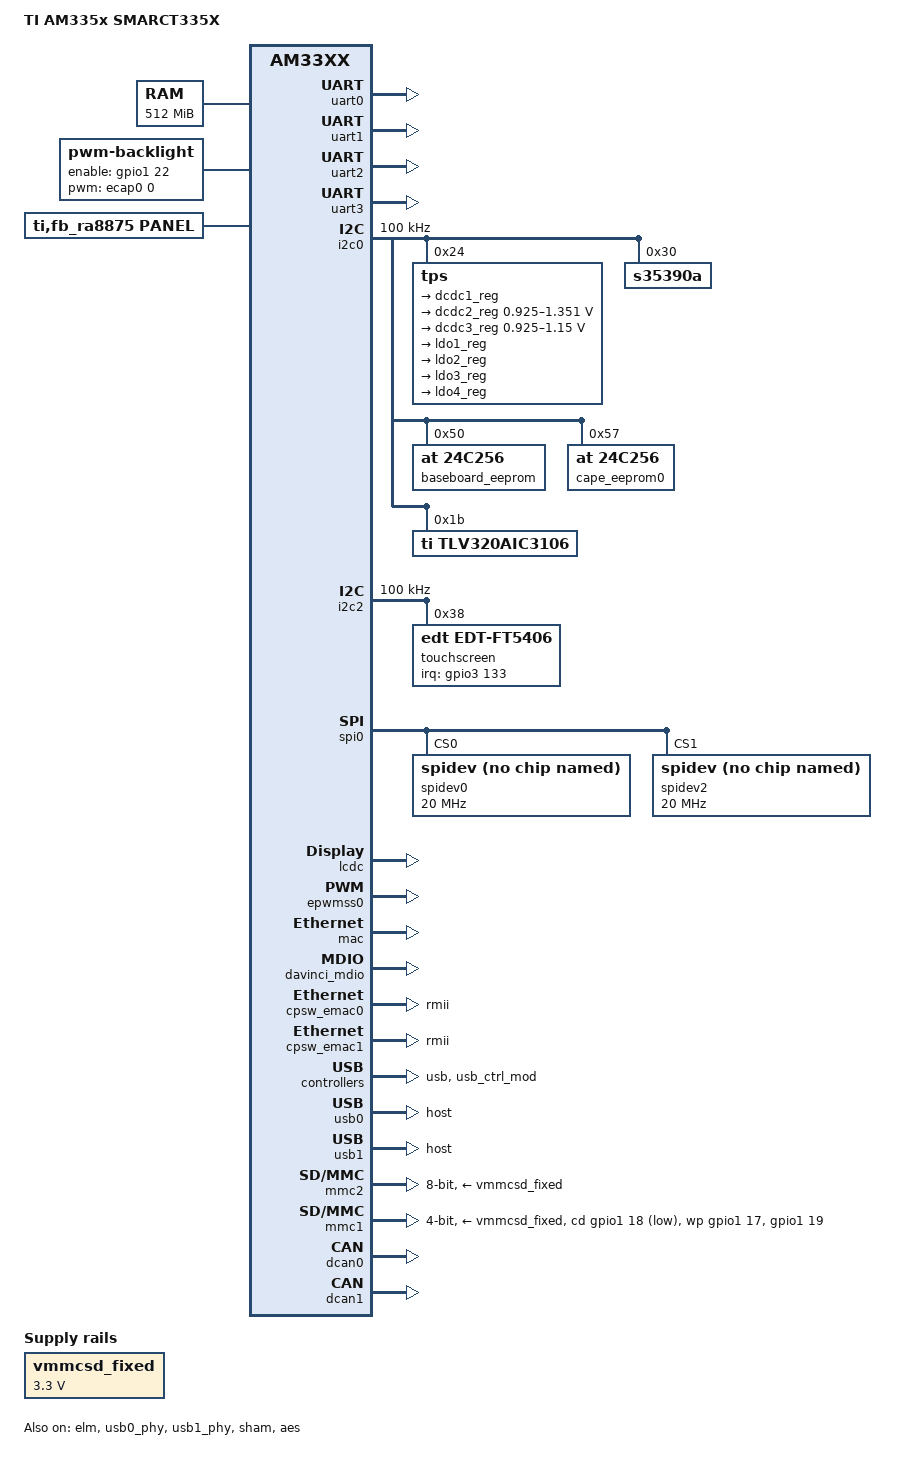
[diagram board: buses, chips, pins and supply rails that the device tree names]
/*
 * Copyright (C) 2012 Texas Instruments Incorporated - http://www.ti.com/
 *
 * This program is free software; you can redistribute it and/or modify
 * it under the terms of the GNU General Public License version 2 as
 * published by the Free Software Foundation.
 */

        /* state the resources this carrier uses for audio function*/
                /* the pin header uses for Audio*/
                /*
                "S.39",         mcasp1: mcasp0_fsr.mcasp1_fsx           mode3
                "S.40",         mcasp1: mcasp0_axr1.mcasp1_axr0         mode3
                "S.41",         mcasp1: mcasp0_ahclkx.mcasp1_axr1       mode3
                "S.42",         mcasp1: mcasp0_aclkr.mcasp1_aclkx       mode3
                */
                /* the pin header uses for SPI1*/
                /*
                "P.54",         spi1: mcasp0_ahclkr.spi1_cs0n           mode3
                "P.55",         spi1: xdma_event_intro0.spi1_cs1n       mode4
                "P.56",         spi1: mcasp0_aclkx.spi1_sclk            mode3
                "P.57",         spi1: mcasp0_fsx.spi1_d0                mode3
                "P.58",         spi1: mcasp0_axr0.spi1_d1               mode3
                */
                /* the pin header uses for LCD*/
                /*
                "S.114",        lcd: lcd_data0.lcd_data0                mode0
                "S.115",        lcd: lcd_data1.lcd_data1                mode0
                "S.116",        lcd: lcd_data2.lcd_data2                mode0
                "S.117",        lcd: lcd_data3.lcd_data3                mode0
                "S.118",        lcd: lcd_data4.lcd_data4                mode0
                "S.104",        lcd: lcd_data5.lcd_data5                mode0
                "S.105",        lcd: lcd_data6.lcd_data6                mode0
                "S.106",        lcd: lcd_data7.lcd_data7                mode0
                "S.107",        lcd: lcd_data8.lcd_data8                mode0
                "S.108",        lcd: lcd_data9.lcd_data9                mode0
                "S.109",        lcd: lcd_data10.lcd_data10              mode0
                "S.96",         lcd: lcd_data11.lcd_data11              mode0
                "S.97",         lcd: lcd_data12.lcd_data12              mode0
                "S.98",         lcd: lcd_data13.lcd_data13              mode0
                "S.99",         lcd: lcd_data14.lcd_data14              mode0
                "S.100",        lcd: lcd_data15.lcd_data15              mode0
                "S.113",        lcd: lcd_data16.gpmc_ad15               mode0
                "S.95",         lcd: lcd_data17.gpmc_ad14               mode0
                "S.112",        lcd: lcd_data18.gpmc_ad13               mode0
                "S.103",        lcd: lcd_data19.gpmc_ad12               mode0
                "S.94",         lcd: lcd_data20.gpmc_ad11               mode0
                "S.111",        lcd: lcd_data21.gpmc_ad10               mode0
                "S.102",        lcd: lcd_data22.gpmc_ad9                mode0
                "S.93",         lcd: lcd_data23.gpmc_ad8                mode0
                "S.121",        lcd: lcd_vsync.lcd_vsync                mode0
                "S.122",        lcd: lcd_hsync.lcd_hsync                mode0
                "S.123",        lcd: lcd_pclk.lcd_pclk                  mode0
                "S.120",        lcd_de: lcd_ac_bias_en.lcd_ac_bias_en   mode0
                "S.133",        lcd_vdd_en: gpmc_a7.gpio1_23            mode7
                "S.127",        lcd_bklt_en: gpmc_a6.gpio1_22           mode7
        `       */
                /* the pin header uses for DCAN0*/
                /*
                "P.143",        dcan0_tx: gmii1_txd3.dcan0_tx           mode1
                "P.144",        dcan0_rx: gmii1_txd2.dcan0_rx   mode1
                */
                /* the hardware ip uses */
                /*
                "mcasp1",
                "i2c0",
                "i2c1",
                "i2c2",
                "uart0",
                "uart2",
                "uart3",
                "touch",
                "mmc0/SD",
                "emmc",
                "ecap0/backlight",
                "emac0",
                "emac1",
                "gpio1_22",
                "gpio1_23",
                "gpio1_19",
                "lcd",
                "dcan0",
                "spi0",
                "spi1";
                */


/ {
	model = "TI AM335x SMARCT335X";
	compatible = "ti,am335x-smarct335x", "ti,am33xx";

        aliases {
                rtc0 = &s35390a;
                rtc1 = &rtc;
               	mmc0 = &mmc2;   /* Fixed to mmcblk0 for &mmc2 */
               	mmc1 = &mmc1;   /* Fixed to mmcblk1 for &mmc1 */
        };

	cpus {
		cpu@0 {
			cpu0-supply = <&dcdc2_reg>;
		};
	};

	memory@80000000 {
		device_type = "memory";
		reg = <0x80000000 0x20000000>; /* 512 MB */
	};

        vmmcsd_fixed: fixedregulator@0 {
                compatible = "regulator-fixed";
                regulator-name = "vmmcsd_fixed";
                regulator-min-microvolt = <3300000>;
                regulator-max-microvolt = <3300000>;
        };

        backlight {
                compatible = "pwm-backlight";
                enable-gpios = <&gpio1 22 0>; /* Backlight Enable Pin*/
                pwms = <&ecap0 0 50000 0>;
                brightness-levels = <0 51 53 56 62 75 101 152 255>;
                default-brightness-level = <8>;
        };

//	lcdc: lcdc@4830e000 {
//		compatible = "ti,am33xx-tilcdc";
//		reg = <0x4830e000 0x1000>;
//		interrupt-parent = <&intc>;
//		interrupts = <36>;
//		ti,hwmods = "lcdc";
//		status = "enabled";
//	};

        panel {
                compatible = "ti,fb_ra8875,panel";
                status = "okay";
        	pinctrl-names = "default";
        	pinctrl-0 = <&lcd_pins_default>;
//		enable-gpios = <&gpio1 23 0>; /* Enable LCD_VDD_EN pin */
                panel-info {
                        bpp               = <16>;
                };

                display-timings {
                       	800x480p60 {
                                hactive = <800>;
                                vactive = <480>;
                               hsync-active = <0>;
                                vsync-active = <0>;
                        };
                };
        };
};


&am33xx_pinmux {
	pinctrl-names = "default";
//	pinctrl-0 = <&clkout2_pin &gpio_pins_default>;
	pinctrl-0 = <&gpio_pins_default>;
  
  i2c0_pins: pinmux_i2c0_pins {    //to ??
    pinctrl-single,pins = <
      AM33XX_IOPAD(0x988, PIN_INPUT_PULLUP | MUX_MODE0) /* (C17) I2C0_SDA.I2C0_SDA */
      AM33XX_IOPAD(0x98c, PIN_INPUT_PULLUP | MUX_MODE0) /* (C16) I2C0_SCL.I2C0_SCL */
    >;
  };
  /* Optional sleep pin settings. Must manually enter values in the below skeleton. */
  i2c0_pins_sleep: i2c0_pins_sleep {
    pinctrl-single,pins = <
      AM33XX_IOPAD(0x988, PIN_INPUT_PULLDOWN | MUX_MODE7) /* (C17) I2C0_SDA.I2C0_SDA */
      AM33XX_IOPAD(0x98c, PIN_INPUT_PULLDOWN | MUX_MODE7) /* (C16) I2C0_SCL.I2C0_SCL */
    >;
  };

  i2c2_pins: pinmux_i2c2_pins {   //to touch
    pinctrl-single,pins = <
      AM33XX_IOPAD(0x978, PIN_INPUT_PULLUP | MUX_MODE3) /* (D18) uart1_ctsn.I2C2_SDA */
      AM33XX_IOPAD(0x97c, PIN_INPUT_PULLUP | MUX_MODE3) /* (D17) uart1_rtsn.I2C2_SCL */
      AM33XX_IOPAD(0x9a0, PIN_INPUT_PULLUP | MUX_MODE7) /* (B12) mcasp0_aclkr.gpio3[18] nINT_CTP*/
    >;
  };
  /* Optional sleep pin settings. Must manually enter values in the below skeleton. */
  i2c2_pins_sleep: i2c2_pins_sleep {
    pinctrl-single,pins = <
      AM33XX_IOPAD(0x978, PIN_INPUT_PULLDOWN | MUX_MODE7) /* (D18) uart1_ctsn.I2C2_SDA */
      AM33XX_IOPAD(0x97c, PIN_INPUT_PULLDOWN | MUX_MODE7) /* (D17) uart1_rtsn.I2C2_SCL */
      AM33XX_IOPAD(0x9a0, PIN_INPUT_PULLDOWN | MUX_MODE7) /* (B12) mcasp0_aclkr.gpio3[18] nINT_CTP*/
    >;
  };

  uart0_pins: pinmux_uart0_pins {    //to PC
    pinctrl-single,pins = <
      AM33XX_IOPAD(0x970, PIN_INPUT_PULLUP | MUX_MODE0)	/* (E15) uart0_rxd.uart0_rxd */
      AM33XX_IOPAD(0x974, PIN_OUTPUT_PULLDOWN | MUX_MODE0)	/* (E16) uart0_txd.uart0_txd */
    >;
  };
  uart0_pins_sleep: pinmux_uart0_pins_sleep {
    pinctrl-single,pins = <
      AM33XX_IOPAD(0x970, PIN_INPUT_PULLDOWN | MUX_MODE7)	/* (E15) uart0_rxd.uart0_rxd */
      AM33XX_IOPAD(0x974, PIN_INPUT_PULLDOWN | MUX_MODE7)	/* (E16) uart0_txd.uart0_txd */
    >;
  };

  uart1_pins: pinmux_uart1_pins {    //to FPGA
    pinctrl-single,pins = <
      AM33XX_IOPAD(0x980, PIN_INPUT_PULLUP | MUX_MODE0) /* (D16) uart1_rxd.uart1_rxd */ 
      AM33XX_IOPAD(0x984, PIN_OUTPUT_PULLDOWN | MUX_MODE0)	/* (D15) uart1_txd.uart1_txd */
    >;
  };
  uart1_pins_sleep: pinmux_uart1_pins_sleep {
    pinctrl-single,pins = <
      AM33XX_IOPAD(0x980, PIN_INPUT_PULLDOWN | MUX_MODE7) /* (D16) uart1_rxd.uart1_rxd */
      AM33XX_IOPAD(0x984, PIN_INPUT_PULLDOWN | MUX_MODE7) /* (D15) uart1_txd.uart1_txd */
    >;
  };

  uart2_pins: pinmux_uart2_pins {   //to module
    pinctrl-single,pins = <
      AM33XX_IOPAD(0x92c, PIN_INPUT_PULLUP | MUX_MODE1) /* (K18) gmii1_txclk.uart2_rxd */
      AM33XX_IOPAD(0x930, PIN_OUTPUT_PULLDOWN | MUX_MODE1) /* (L18) gmii1_rxclk.uart2_txd */
    >;
  };
  uart2_pins_sleep: pinmux_uart2_pins_sleep {
    pinctrl-single,pins = <
      AM33XX_IOPAD(0x92c, PIN_INPUT_PULLDOWN | MUX_MODE7) /* (K18) gmii1_txclk.uart2_rxd */
      AM33XX_IOPAD(0x930, PIN_INPUT_PULLDOWN | MUX_MODE7) /* (L18) gmii1_rxclk.uart2_txd */
    >;
  };
 
  uart3_pins: pinmux_uart3_pins {   //debug
    pinctrl-single,pins = <
      AM33XX_IOPAD(0x934, PIN_INPUT_PULLUP | MUX_MODE1) /* (L17) gmii1_rxd3.uart3_rxd */
      AM33XX_IOPAD(0x938, PIN_OUTPUT_PULLDOWN | MUX_MODE1) /* (L16) gmii1_rxd2.uart3_txd */
    >;
  };
  uart3_pins_sleep: pinmux_uart3_pins_sleep {
    pinctrl-single,pins = <
      AM33XX_IOPAD(0x934, PIN_INPUT_PULLDOWN | MUX_MODE7) /* (L17) gmii1_rxd3.uart3_rxd */
      AM33XX_IOPAD(0x938, PIN_INPUT_PULLDOWN | MUX_MODE7) /* (L16) gmii1_rxd2.uart3_txd */
    >;
  };

//	clkout2_pin: pinmux_clkout2_pin {
//		pinctrl-single,pins = <
//			AM33XX_IOPAD(0x9b4, PIN_OUTPUT_PULLDOWN | MUX_MODE3)	/* xdma_event_intr1.clkout2 */
//		>;
//	};

  gpio_pins_default: pinmux_gpio_pin {
    pinctrl-single,pins = <
      AM33XX_IOPAD(0x918, PIN_INPUT_PULLUP | MUX_MODE7) /* (J17) gmii1_rxdv.gpio3[4] FPGA_Interrupt_1_n*/
      AM33XX_IOPAD(0x9e4, PIN_OUTPUT_PULLDOWN | MUX_MODE7) /* (C14) EMU0.gpio3[7] MCU_LED_G */
      AM33XX_IOPAD(0x9e8, PIN_OUTPUT_PULLDOWN | MUX_MODE7) /* (B14) EMU1.gpio3[8] MCU_LED_R */
      AM33XX_IOPAD(0x990, PIN_INPUT | MUX_MODE7) /* (A13) mcasp0_aclkx.gpio3[14] GPIO_JTAG_TCK */
      AM33XX_IOPAD(0x994, PIN_INPUT | MUX_MODE7) /* (B13) mcasp0_fsx.gpio3[15] GPIO_JTAG_TDO */
      AM33XX_IOPAD(0x998, PIN_INPUT | MUX_MODE7) /* (D12) mcasp0_axr0.gpio3[16] GPIO_JTAG_TDI */
      AM33XX_IOPAD(0x99c, PIN_INPUT | MUX_MODE7) /* (C12) mcasp0_ahclkr.gpio3[17] GPIO_JTAG_TMS */
      AM33XX_IOPAD(0x9a4, PIN_INPUT | MUX_MODE7) /* (C13) mcasp0_fsr.gpio3[19] External_Key_2 */
      AM33XX_IOPAD(0x9a8, PIN_OUTPUT_PULLUP | MUX_MODE7) /* (D13) mcasp0_axr1.gpio3[20] Enable_Lamp_1 */
      AM33XX_IOPAD(0x9ac, PIN_OUTPUT_PULLUP | MUX_MODE7) /* (A14) mcasp0_ahclkx.gpio3[21] Enable_Lamp_2 */
      AM33XX_IOPAD(0x89c, PIN_INPUT_PULLUP | MUX_MODE7) /* (T6) gpmc_be0n_cle.gpio2[5] FPGA_Interrupt_2_n */
      AM33XX_IOPAD(0x9b0, PIN_INPUT | MUX_MODE7) /* (A15) xdma_event_intr0.gpio0[19] GPIO_EXT_JTAG_ENn */
      AM33XX_IOPAD(0x9b4, PIN_INPUT_PULLUP | MUX_MODE7) /* (D14) xdma_event_intr1.gpio0[20] External_Key_1 */
    >;
  };
  /* Optional sleep pin settings. Must manually enter values in the below skeleton. */
  gpio_pins_sleep: gpio_pins_sleep {
    pinctrl-single,pins = <
      AM33XX_IOPAD(0x918, PIN_OUTPUT_PULLDOWN | MUX_MODE7) /* (J17) gmii1_rxdv.gpio3[4] */
      AM33XX_IOPAD(0x9e4, PIN_OUTPUT_PULLDOWN | MUX_MODE7) /* (C14) EMU0.gpio3[7] */
      AM33XX_IOPAD(0x9e8, PIN_OUTPUT_PULLDOWN | MUX_MODE7) /* (B14) EMU1.gpio3[8] */
      AM33XX_IOPAD(0x990, PIN_OUTPUT_PULLDOWN | MUX_MODE7) /* (A13) mcasp0_aclkx.gpio3[14] */
      AM33XX_IOPAD(0x994, PIN_OUTPUT_PULLDOWN | MUX_MODE7) /* (B13) mcasp0_fsx.gpio3[15] */
      AM33XX_IOPAD(0x998, PIN_OUTPUT_PULLDOWN | MUX_MODE7) /* (D12) mcasp0_axr0.gpio3[16] */
      AM33XX_IOPAD(0x99c, PIN_OUTPUT_PULLDOWN | MUX_MODE7) /* (C12) mcasp0_ahclkr.gpio3[17] */
      AM33XX_IOPAD(0x9a4, PIN_OUTPUT_PULLDOWN | MUX_MODE7 ) /* (C13) mcasp0_fsr.gpio3[19] */
      AM33XX_IOPAD(0x9a8, PIN_OUTPUT_PULLDOWN | MUX_MODE7) /* (D13) mcasp0_axr1.gpio3[20] */
      AM33XX_IOPAD(0x9ac, PIN_OUTPUT_PULLDOWN | MUX_MODE7) /* (A14) mcasp0_ahclkx.gpio3[21] */
      AM33XX_IOPAD(0x89c, PIN_OUTPUT_PULLDOWN | MUX_MODE7) /* (T6) gpmc_be0n_cle.gpio2[5] */
      AM33XX_IOPAD(0x9b0, PIN_OUTPUT_PULLDOWN | MUX_MODE7) /* (A15) xdma_event_intr0.gpio0[19] */
      AM33XX_IOPAD(0x9b4, PIN_OUTPUT_PULLDOWN | MUX_MODE7) /* (D14) xdma_event_intr1.gpio0[20] */
    >;
  };

  ecap0_pins: backlight_pins {    // PWM to BL
    pinctrl-single,pins = <
      AM33XX_IOPAD(0x964, MUX_MODE0)  /* (C18) eCAP0_in_PWM0_out.eCAP0_in_PWM0_out */
    >;
  };
  /* Optional sleep pin settings. Must manually enter values in the below skeleton. */
  ecap0_pins_sleep:  ecap0_pins_sleep {
    pinctrl-single,pins = <
      AM33XX_IOPAD(0x964, PIN_OUTPUT_PULLDOWN | MUX_MODE7) /* (C18) eCAP0_in_PWM0_out.eCAP0_in_PWM0_out */
    >;
  };

  gpmc_to_fpga_pins_default: gpmc_to_fpga_pins_default {
    pinctrl-single,pins = <
      AM33XX_IOPAD(0x844, PIN_OUTPUT | MUX_MODE0) /* (V14) gpmc_a1.gpmc_a1 */
      AM33XX_IOPAD(0x848, PIN_OUTPUT | MUX_MODE0) /* (U14) gpmc_a2.gpmc_a2 */
      AM33XX_IOPAD(0x84c, PIN_OUTPUT | MUX_MODE0) /* (T14) gpmc_a3.gpmc_a3 */
      AM33XX_IOPAD(0x858, PIN_OUTPUT | MUX_MODE0) /* (U15) gpmc_a6.gpmc_a6 */
      AM33XX_IOPAD(0x85c, PIN_OUTPUT | MUX_MODE0) /* (T15) gpmc_a7.gpmc_a7 */
      AM33XX_IOPAD(0x860, PIN_OUTPUT | MUX_MODE0) /* (V16) gpmc_a8.gpmc_a8 */
      AM33XX_IOPAD(0x864, PIN_OUTPUT | MUX_MODE0) /* (U16) gpmc_a9.gpmc_a9 */
      AM33XX_IOPAD(0x83c, PIN_INPUT | MUX_MODE0) /* (U13) gpmc_ad15.gpmc_ad15 */
      AM33XX_IOPAD(0x838, PIN_INPUT | MUX_MODE0) /* (V13) gpmc_ad14.gpmc_ad14 */
      AM33XX_IOPAD(0x834, PIN_INPUT | MUX_MODE0) /* (R12) gpmc_ad13.gpmc_ad13 */
      AM33XX_IOPAD(0x830, PIN_INPUT | MUX_MODE0) /* (T12) gpmc_ad12.gpmc_ad12 */
      AM33XX_IOPAD(0x82c, PIN_INPUT | MUX_MODE0) /* (U12) gpmc_ad11.gpmc_ad11 */
      AM33XX_IOPAD(0x828, PIN_INPUT | MUX_MODE0) /* (T11) gpmc_ad10.gpmc_ad10 */
      AM33XX_IOPAD(0x824, PIN_INPUT | MUX_MODE0) /* (T10) gpmc_ad9.gpmc_ad9 */
      AM33XX_IOPAD(0x820, PIN_INPUT | MUX_MODE0) /* (U10) gpmc_ad8.gpmc_ad8 */
      AM33XX_IOPAD(0x890, PIN_OUTPUT | MUX_MODE0) /* (R7) gpmc_advn_ale.gpmc_advn_ale */
      AM33XX_IOPAD(0x894, PIN_OUTPUT | MUX_MODE0) /* (T7) gpmc_oen_ren.gpmc_oen_ren */
      AM33XX_IOPAD(0x898, PIN_OUTPUT | MUX_MODE0) /* (U6) gpmc_wen.gpmc_wen */
      AM33XX_IOPAD(0x87c, PIN_OUTPUT | MUX_MODE0) /* (V6) gpmc_csn0.gpmc_csn0 */
      AM33XX_IOPAD(0x888, PIN_OUTPUT | MUX_MODE0) /* (T13) gpmc_csn3.gpmc_csn3 */
      AM33XX_IOPAD(0x878, PIN_OUTPUT | MUX_MODE2) /* (U18) gpmc_be1n.gpmc_csn6 */
    >;
  };
  /* Optional sleep pin settings. Must manually enter values in the below skeleton. */
  gpmc_to_fpga_pins_sleep: gpmc_to_fpga_pins_sleep {
    pinctrl-single,pins = <
      AM33XX_IOPAD(0x844, PIN_OUTPUT_PULLDOWN | MUX_MODE7) /* (V14) gpmc_a1.gpmc_a1 */
      AM33XX_IOPAD(0x848, PIN_INPUT_PULLDOWN | MUX_MODE7) /* (U14) gpmc_a2.gpmc_a2 */
      AM33XX_IOPAD(0x84c, PIN_INPUT_PULLDOWN | MUX_MODE7) /* (T14) gpmc_a3.gpmc_a3 */
      AM33XX_IOPAD(0x858, PIN_INPUT_PULLDOWN | MUX_MODE7) /* (U15) gpmc_a6.gpmc_a6 */
      AM33XX_IOPAD(0x85c, PIN_INPUT_PULLDOWN | MUX_MODE7) /* (T15) gpmc_a7.gpmc_a7 */
      AM33XX_IOPAD(0x860, PIN_INPUT_PULLDOWN | MUX_MODE7) /* (V16) gpmc_a8.gpmc_a8 */
      AM33XX_IOPAD(0x864, PIN_INPUT_PULLDOWN | MUX_MODE7) /* (U16) gpmc_a9.gpmc_a9 */
      AM33XX_IOPAD(0x83c, PIN_INPUT_PULLDOWN | MUX_MODE7) /* (U13) gpmc_ad15.gpmc_ad15 */
      AM33XX_IOPAD(0x838, PIN_INPUT_PULLDOWN | MUX_MODE7) /* (V13) gpmc_ad14.gpmc_ad14 */
      AM33XX_IOPAD(0x834, PIN_INPUT_PULLDOWN | MUX_MODE7) /* (R12) gpmc_ad13.gpmc_ad13 */
      AM33XX_IOPAD(0x830, PIN_INPUT_PULLDOWN | MUX_MODE7) /* (T12) gpmc_ad12.gpmc_ad12 */
      AM33XX_IOPAD(0x82c, PIN_INPUT_PULLDOWN | MUX_MODE7) /* (U12) gpmc_ad11.gpmc_ad11 */
      AM33XX_IOPAD(0x828, PIN_INPUT_PULLDOWN | MUX_MODE7) /* (T11) gpmc_ad10.gpmc_ad10 */
      AM33XX_IOPAD(0x824, PIN_INPUT_PULLDOWN | MUX_MODE7) /* (T10) gpmc_ad9.gpmc_ad9 */
      AM33XX_IOPAD(0x820, PIN_INPUT_PULLDOWN | MUX_MODE7) /* (U10) gpmc_ad8.gpmc_ad8 */
      AM33XX_IOPAD(0x890, PIN_INPUT_PULLDOWN | MUX_MODE7) /* (R7) gpmc_advn_ale.gpmc_advn_ale */
      AM33XX_IOPAD(0x894, PIN_INPUT_PULLDOWN | MUX_MODE7) /* (T7) gpmc_oen_ren.gpmc_oen_ren */
      AM33XX_IOPAD(0x898, PIN_INPUT_PULLDOWN | MUX_MODE7) /* (U6) gpmc_wen.gpmc_wen */
      AM33XX_IOPAD(0x87c, PIN_INPUT_PULLDOWN | MUX_MODE7) /* (V6) gpmc_csn0.gpmc_csn0 */
      AM33XX_IOPAD(0x888, PIN_INPUT_PULLDOWN | MUX_MODE7) /* (T13) gpmc_csn3.gpmc_csn3 */
      AM33XX_IOPAD(0x878, PIN_INPUT_PULLDOWN | MUX_MODE7) /* (U18) gpmc_be1n.gpmc_csn6 */
    >;
  };

  cpsw_default: cpsw_default {
    pinctrl-single,pins = <
      /* Slave 1 */
      AM33XX_IOPAD(0x90c, PIN_INPUT_PULLUP | MUX_MODE1) /* (H17) mii1_crs.rmii1_crs_dv */
      AM33XX_IOPAD(0x910, PIN_INPUT_PULLUP | MUX_MODE1) /* (J15) mii1_rxerr.rmii1_rxerr */
      AM33XX_IOPAD(0x914, PIN_OUTPUT_PULLDOWN | MUX_MODE1)  /* (J16) mii1_txen.rmii1_txen */
      AM33XX_IOPAD(0x924, PIN_OUTPUT_PULLDOWN | MUX_MODE1)	/* (K16) mii1_txd1.rmii1_txd1 */
      AM33XX_IOPAD(0x928, PIN_OUTPUT_PULLDOWN | MUX_MODE1)	/* (K17) mii1_txd0.rmii1_txd0 */
      AM33XX_IOPAD(0x93c, PIN_INPUT_PULLUP | MUX_MODE1) /* (L15) mii1_rxd1.rmii1_rxd1 */
      AM33XX_IOPAD(0x940, PIN_INPUT_PULLUP | MUX_MODE1) /* (M16) mii1_rxd0.rmii1_rxd0 */
      AM33XX_IOPAD(0x944, PIN_INPUT_PULLUP | MUX_MODE0) /* (H18) rmii1_ref_clk.rmii1_ref_clk */

      /* Slave 2 */
      AM33XX_IOPAD(0x870, PIN_INPUT_PULLUP | MUX_MODE3) /* (T17) gpmc_wait0.rmii2_crs_dv */
      AM33XX_IOPAD(0x874, PIN_INPUT_PULLUP | MUX_MODE3) /* (U17) gpmc_wpn.rmii2_rxerr */
      AM33XX_IOPAD(0x840, PIN_OUTPUT_PULLDOWN | MUX_MODE3)  /* (R13) gpmc_a0.rmii2_txen */
      AM33XX_IOPAD(0x850, PIN_OUTPUT_PULLDOWN | MUX_MODE3)  /* (R14) gpmc_a4.rmii2_txd1 */
      AM33XX_IOPAD(0x854, PIN_OUTPUT_PULLDOWN | MUX_MODE3)  /* (V15) gpmc_a5.rmii2_txd0 */
      AM33XX_IOPAD(0x868, PIN_INPUT_PULLUP | MUX_MODE3) /* (T16) gpmc_a10.rmii2_rxd1 */
      AM33XX_IOPAD(0x86c, PIN_INPUT_PULLUP | MUX_MODE3) /* (V17) gpmc_a11.rmii2_rxd0 */
      AM33XX_IOPAD(0x908, PIN_INPUT_PULLUP | MUX_MODE1) /* (H16) mii1_col.rmii2_ref_clk */
    >;
	};
  cpsw_sleep: cpsw_sleep {
    pinctrl-single,pins = <
      /* Slave 1 reset value */
      AM33XX_IOPAD(0x90c, PIN_INPUT_PULLDOWN | MUX_MODE7) /* (H17) mii1_crs.rmii1_crs_dv */
      AM33XX_IOPAD(0x910, PIN_INPUT_PULLDOWN | MUX_MODE7)	/* (J15) mii1_rxerr.rmii1_rxerr */
      AM33XX_IOPAD(0x914, PIN_INPUT_PULLDOWN | MUX_MODE7)	/* (J16) mii1_txen.rmii1_txen */
      AM33XX_IOPAD(0x924, PIN_INPUT_PULLDOWN | MUX_MODE7)	/* (K16) mii1_txd1.rmii1_txd1 */
      AM33XX_IOPAD(0x928, PIN_INPUT_PULLDOWN | MUX_MODE7)	/* (K17) mii1_txd0.rmii1_txd0 */
      AM33XX_IOPAD(0x93c, PIN_INPUT_PULLDOWN | MUX_MODE7)	/* (L15) mii1_rxd1.rmii1_rxd1 */
      AM33XX_IOPAD(0x940, PIN_INPUT_PULLDOWN | MUX_MODE7)	/* (M16) mii1_rxd0.rmii1_rxd0 */
      AM33XX_IOPAD(0x944, PIN_INPUT_PULLDOWN | MUX_MODE7) /* (H18) rmii1_ref_clk.rmii1_ref_clk */

      /* Slave 2 reset value */
      AM33XX_IOPAD(0x870, PIN_INPUT_PULLDOWN | MUX_MODE7) /* (T17) gpmc_wait0.rmii2_crs_dv */
      AM33XX_IOPAD(0x874, PIN_INPUT_PULLDOWN | MUX_MODE7) /* (U17) gpmc_wpn.rmii2_rxerr */
      AM33XX_IOPAD(0x840, PIN_INPUT_PULLDOWN | MUX_MODE7) /* (R13) gpmc_a0.rmii2_txen */
      AM33XX_IOPAD(0x850, PIN_INPUT_PULLDOWN | MUX_MODE7) /* (R14) gpmc_a4.rmii2_txd1 */
      AM33XX_IOPAD(0x854, PIN_INPUT_PULLDOWN | MUX_MODE7) /* (V15) gpmc_a5.rmii2_txd0 */
      AM33XX_IOPAD(0x868, PIN_INPUT_PULLDOWN | MUX_MODE7) /* (T16) gpmc_a10.rmii2_rxd1 */
      AM33XX_IOPAD(0x86c, PIN_INPUT_PULLDOWN | MUX_MODE7) /* (V17) gpmc_a11.rmii2_rxd0 */
      AM33XX_IOPAD(0x908, PIN_INPUT_PULLDOWN | MUX_MODE7) /* (H16) mii1_col.rmii2_ref_clk */
    >;
  };

  davinci_mdio_default: davinci_mdio_default {			/* MDIO */
    pinctrl-single,pins = <
      AM33XX_IOPAD(0x948, PIN_INPUT_PULLUP | SLEWCTRL_FAST | MUX_MODE0)  /* (M17) mdio_data.mdio_data */
      AM33XX_IOPAD(0x94c, PIN_OUTPUT_PULLUP | MUX_MODE0)  /* (M18) mdio_clk.mdio_clk */
    >;
  };
  /* Optional sleep pin settings. Must manually enter values in the below skeleton. */
  davinci_mdio_sleep: davinci_mdio_sleep {			/* MDIO reset value */
    pinctrl-single,pins = <
      AM33XX_IOPAD(0x948, PIN_INPUT_PULLDOWN | MUX_MODE7)  /* (M17) mdio_data.mdio_data */
      AM33XX_IOPAD(0x94c, PIN_INPUT_PULLDOWN | MUX_MODE7)  /* (M18) mdio_clk.mdio_clk */
    >;
  };

  mmc1_pins: pinmux_mmc1_pins {
    pinctrl-single,pins = <
      AM33XX_IOPAD(0x8f0, PIN_INPUT_PULLUP | MUX_MODE0)    	/* (F17) mmc0_dat3.mmc0_dat3 */
      AM33XX_IOPAD(0x8f4, PIN_INPUT_PULLUP | MUX_MODE0)    	/* (F18) mmc0_dat2.mmc0_dat2 */
      AM33XX_IOPAD(0x8f8, PIN_INPUT_PULLUP | MUX_MODE0)    	/* (G15) mmc0_dat1.mmc0_dat1 */
      AM33XX_IOPAD(0x8fc, PIN_INPUT_PULLUP | MUX_MODE0)    	/* (G16) mmc0_dat0.mmc0_dat0 */
      AM33XX_IOPAD(0x900, PIN_INPUT_PULLUP | MUX_MODE0)    	/* (G17) mmc0_clk.mmc0_clk */
      AM33XX_IOPAD(0x904, PIN_INPUT_PULLUP | MUX_MODE0)	/* (G18) mmc0_cmd.mmc0_cmd */
      AM33XX_IOPAD(0x960, PIN_INPUT | MUX_MODE5) /* (C15) spi0_cs1.mmc0_sdcd */
    >;
  };
  mmc1_pins_sleep: pinmux_mmc1_pins_sleep {
    pinctrl-single,pins = <
      AM33XX_IOPAD(0x8f0, PIN_INPUT_PULLDOWN | MUX_MODE7) /* (F17) mmc0_dat3.mmc0_dat3 */
      AM33XX_IOPAD(0x8f4, PIN_INPUT_PULLDOWN | MUX_MODE7) /* (F18) mmc0_dat2.mmc0_dat2 */
      AM33XX_IOPAD(0x8f8, PIN_INPUT_PULLDOWN | MUX_MODE7) /* (G15) mmc0_dat1.mmc0_dat1 */
      AM33XX_IOPAD(0x8fc, PIN_INPUT_PULLDOWN | MUX_MODE7) /* (G16) mmc0_dat0.mmc0_dat0 */
      AM33XX_IOPAD(0x900, PIN_INPUT_PULLDOWN | MUX_MODE7) /* (G17) mmc0_clk.mmc0_clk */
      AM33XX_IOPAD(0x904, PIN_INPUT_PULLDOWN | MUX_MODE7) /* (G18) mmc0_cmd.mmc0_cmd */
      AM33XX_IOPAD(0x960, PIN_INPUT_PULLDOWN | MUX_MODE7) /* (C15) spi0_cs1.mmc0_sdcd */
    >;
  };

	emmc_pins: pinmux_emmc_pins {
		pinctrl-single,pins = <
			AM33XX_IOPAD(0x880, PIN_INPUT_PULLUP | MUX_MODE2) 	/* (U9) gpmc_csn1.mmc1_clk */
			AM33XX_IOPAD(0x884, PIN_INPUT_PULLUP | MUX_MODE2) 	/* (V9) gpmc_csn2.mmc1_cmd */
			AM33XX_IOPAD(0x800, PIN_INPUT_PULLUP | MUX_MODE1) 	/* (U7) gpmc_ad0.mmc1_dat0 */
			AM33XX_IOPAD(0x804, PIN_INPUT_PULLUP | MUX_MODE1) 	/* (V7) gpmc_ad1.mmc1_dat1 */
			AM33XX_IOPAD(0x808, PIN_INPUT_PULLUP | MUX_MODE1) 	/* (R8) gpmc_ad2.mmc1_dat2 */
			AM33XX_IOPAD(0x80c, PIN_INPUT_PULLUP | MUX_MODE1) 	/* (T8) gpmc_ad3.mmc1_dat3 */
			AM33XX_IOPAD(0x810, PIN_INPUT_PULLUP | MUX_MODE1) 	/* (U8) gpmc_ad4.mmc1_dat4 */
			AM33XX_IOPAD(0x814, PIN_INPUT_PULLUP | MUX_MODE1) 	/* (V8) gpmc_ad5.mmc1_dat5 */
			AM33XX_IOPAD(0x818, PIN_INPUT_PULLUP | MUX_MODE1) 	/* (R9) gpmc_ad6.mmc1_dat6 */
			AM33XX_IOPAD(0x81c, PIN_INPUT_PULLUP | MUX_MODE1) 	/* (T9) gpmc_ad7.mmc1_dat7 */
		>;
	};
  /* Optional sleep pin settings. Must manually enter values in the below skeleton. */
  emmcmmc1_pins_sleep: emmcmmc1_pins_sleep {
    pinctrl-single,pins = <
      AM33XX_IOPAD(0x80, PIN_INPUT_PULLDOWN | MUX_MODE7) /* (U9) gpmc_csn1.mmc1_clk */
      AM33XX_IOPAD(0x84, PIN_INPUT_PULLDOWN | MUX_MODE7) /* (V9) gpmc_csn2.mmc1_cmd */
      AM33XX_IOPAD(0x0, PIN_INPUT_PULLDOWN | MUX_MODE7) /* (U7) gpmc_ad0.mmc1_dat0 */
      AM33XX_IOPAD(0x4, PIN_INPUT_PULLDOWN | MUX_MODE7) /* (V7) gpmc_ad1.mmc1_dat1 */
      AM33XX_IOPAD(0x8, PIN_INPUT_PULLDOWN | MUX_MODE7) /* (R8) gpmc_ad2.mmc1_dat2 */
      AM33XX_IOPAD(0xc, PIN_INPUT_PULLDOWN | MUX_MODE7) /* (T8) gpmc_ad3.mmc1_dat3 */
      AM33XX_IOPAD(0x10, PIN_INPUT_PULLDOWN | MUX_MODE7) /* (U8) gpmc_ad4.mmc1_dat4 */
      AM33XX_IOPAD(0x14, PIN_INPUT_PULLDOWN | MUX_MODE7) /* (V8) gpmc_ad5.mmc1_dat5 */
      AM33XX_IOPAD(0x18, PIN_INPUT_PULLDOWN | MUX_MODE7) /* (R9) gpmc_ad6.mmc1_dat6 */
      AM33XX_IOPAD(0x1c, PIN_INPUT_PULLDOWN | MUX_MODE7) /* (T9) gpmc_ad7.mmc1_dat7 */
    >;
  };

  lcd_pins_default: lcd_pins_default {
    pinctrl-single,pins = <
      AM33XX_IOPAD(0x8e0, PIN_OUTPUT_PULLUP | MUX_MODE0) /* (U5) lcd_vsync.lcd_vsync */
      AM33XX_IOPAD(0x8e4, PIN_OUTPUT_PULLUP | MUX_MODE0) /* (R5) lcd_hsync.lcd_hsync */
      AM33XX_IOPAD(0x8e8, PIN_OUTPUT_PULLUP | MUX_MODE0) /* (V5) lcd_pclk.lcd_pclk */
      AM33XX_IOPAD(0x8ec, PIN_OUTPUT_PULLUP | MUX_MODE0) /* (R6) lcd_ac_bias_en.lcd_ac_bias_en */
      AM33XX_IOPAD(0x8a0, PIN_INPUT_PULLUP | MUX_MODE0) /* (R1) lcd_data0.lcd_data0 */
      AM33XX_IOPAD(0x8a4, PIN_INPUT_PULLUP | MUX_MODE0) /* (R2) lcd_data1.lcd_data1 */
      AM33XX_IOPAD(0x8a8, PIN_INPUT_PULLUP | MUX_MODE0) /* (R3) lcd_data2.lcd_data2 */
      AM33XX_IOPAD(0x8ac, PIN_INPUT_PULLUP | MUX_MODE0) /* (R4) lcd_data3.lcd_data3 */
      AM33XX_IOPAD(0x8b0, PIN_INPUT_PULLUP | MUX_MODE0) /* (T1) lcd_data4.lcd_data4 */
      AM33XX_IOPAD(0x8b4, PIN_INPUT_PULLUP | MUX_MODE0) /* (T2) lcd_data5.lcd_data5 */
      AM33XX_IOPAD(0x8b8, PIN_INPUT_PULLUP | MUX_MODE0) /* (T3) lcd_data6.lcd_data6 */
      AM33XX_IOPAD(0x8bc, PIN_INPUT_PULLUP | MUX_MODE0) /* (T4) lcd_data7.lcd_data7 */
      AM33XX_IOPAD(0x8c0, PIN_INPUT_PULLUP | MUX_MODE0) /* (U1) lcd_data8.lcd_data8 */
      AM33XX_IOPAD(0x8c4, PIN_INPUT_PULLUP | MUX_MODE0) /* (U2) lcd_data9.lcd_data9 */
      AM33XX_IOPAD(0x8c8, PIN_INPUT_PULLUP | MUX_MODE0) /* (U3) lcd_data10.lcd_data10 */
      AM33XX_IOPAD(0x8cc, PIN_INPUT_PULLUP | MUX_MODE0) /* (U4) lcd_data11.lcd_data11 */
      AM33XX_IOPAD(0x8d0, PIN_INPUT_PULLUP | MUX_MODE0) /* (V2) lcd_data12.lcd_data12 */
      AM33XX_IOPAD(0x8d4, PIN_INPUT_PULLUP | MUX_MODE0) /* (V3) lcd_data13.lcd_data13 */
      AM33XX_IOPAD(0x8d8, PIN_INPUT_PULLUP | MUX_MODE0) /* (V4) lcd_data14.lcd_data14 */
      AM33XX_IOPAD(0x8dc, PIN_INPUT_PULLUP | MUX_MODE0) /* (T5) lcd_data15.lcd_data15 */
      AM33XX_IOPAD(0x88c, PIN_INPUT | MUX_MODE7) /* (V12) gpmc_clk.gpio2[1] lcd_wait*/    >;
  };
  /* Optional sleep pin settings. Must manually enter values in the below skeleton. */
  lcd_pins_sleep: lcd_pins_sleep {
    pinctrl-single,pins = <
      AM33XX_IOPAD(0x8e0, PIN_INPUT_PULLDOWN | MUX_MODE7) /* (U5) lcd_vsync.lcd_vsync */
      AM33XX_IOPAD(0x8e4, PIN_INPUT_PULLDOWN | MUX_MODE7) /* (R5) lcd_hsync.lcd_hsync */
      AM33XX_IOPAD(0x8e8, PIN_INPUT_PULLDOWN | MUX_MODE7) /* (V5) lcd_pclk.lcd_pclk */
      AM33XX_IOPAD(0x8ec, PIN_INPUT_PULLDOWN | MUX_MODE7) /* (R6) lcd_ac_bias_en.lcd_ac_bias_en */
      AM33XX_IOPAD(0x8a0, PIN_INPUT_PULLDOWN | MUX_MODE7) /* (R1) lcd_data0.lcd_data0 */
      AM33XX_IOPAD(0x8a4, PIN_INPUT_PULLDOWN | MUX_MODE7) /* (R2) lcd_data1.lcd_data1 */
      AM33XX_IOPAD(0x8a8, PIN_INPUT_PULLDOWN | MUX_MODE7) /* (R3) lcd_data2.lcd_data2 */
      AM33XX_IOPAD(0x8ac, PIN_INPUT_PULLDOWN | MUX_MODE7) /* (R4) lcd_data3.lcd_data3 */
      AM33XX_IOPAD(0x8b0, PIN_INPUT_PULLDOWN | MUX_MODE7) /* (T1) lcd_data4.lcd_data4 */
      AM33XX_IOPAD(0x8b4, PIN_INPUT_PULLDOWN | MUX_MODE7) /* (T2) lcd_data5.lcd_data5 */
      AM33XX_IOPAD(0x8b8, PIN_INPUT_PULLDOWN | MUX_MODE7) /* (T3) lcd_data6.lcd_data6 */
      AM33XX_IOPAD(0x8bc, PIN_INPUT_PULLDOWN | MUX_MODE7) /* (T4) lcd_data7.lcd_data7 */
      AM33XX_IOPAD(0x8c0, PIN_INPUT_PULLDOWN | MUX_MODE7) /* (U1) lcd_data8.lcd_data8 */
      AM33XX_IOPAD(0x8c4, PIN_INPUT_PULLDOWN | MUX_MODE7) /* (U2) lcd_data9.lcd_data9 */
      AM33XX_IOPAD(0x8c8, PIN_INPUT_PULLDOWN | MUX_MODE7) /* (U3) lcd_data10.lcd_data10 */
      AM33XX_IOPAD(0x8cc, PIN_INPUT_PULLDOWN | MUX_MODE7) /* (U4) lcd_data11.lcd_data11 */
      AM33XX_IOPAD(0x8d0, PIN_INPUT_PULLDOWN | MUX_MODE7) /* (V2) lcd_data12.lcd_data12 */
      AM33XX_IOPAD(0x8d4, PIN_INPUT_PULLDOWN | MUX_MODE7) /* (V3) lcd_data13.lcd_data13 */
      AM33XX_IOPAD(0x8d8, PIN_INPUT_PULLDOWN | MUX_MODE7) /* (V4) lcd_data14.lcd_data14 */
      AM33XX_IOPAD(0x8dc, PIN_INPUT_PULLDOWN | MUX_MODE7) /* (T5) lcd_data15.lcd_data15 */
      AM33XX_IOPAD(0x88c, PIN_INPUT_PULLDOWN | MUX_MODE7) /* (V12) gpmc_clk.gpio2[1] lcd_wait*/
    >;
  };

  spi0_pins: pinmux_spi0_pins {      //to Flash W25
    pinctrl-single,pins = <
      AM33XX_IOPAD(0x950, PIN_INPUT | MUX_MODE0) /* (A17) spi0_sclk.spi0_sclk */
      AM33XX_IOPAD(0x954, PIN_INPUT | MUX_MODE0) /* (B17) spi0_d0.spi0_d0 */
      AM33XX_IOPAD(0x958, PIN_INPUT | MUX_MODE0) /* (B16) spi0_d1.spi0_d1 */
      AM33XX_IOPAD(0x95c, PIN_INPUT | MUX_MODE0) /* (A16) spi0_cs0.spi0_cs0 */
    >;
  };
  /* Optional sleep pin settings. Must manually enter values in the below skeleton. */
  spi0_pins_sleep: spi0_pins_sleep {
    pinctrl-single,pins = <
      AM33XX_IOPAD(0x950, PIN_INPUT_PULLDOWN | MUX_MODE7) /* (A17) spi0_sclk.spi0_sclk */
      AM33XX_IOPAD(0x954, PIN_INPUT_PULLDOWN | MUX_MODE7) /* (B17) spi0_d0.spi0_d0 */
      AM33XX_IOPAD(0x958, PIN_INPUT_PULLDOWN | MUX_MODE7) /* (B16) spi0_d1.spi0_d1 */
      AM33XX_IOPAD(0x95c, PIN_INPUT_PULLDOWN | MUX_MODE7) /* (A16) spi0_cs0.spi0_cs0 */
    >;
  };
       
  dcan0_default: dcan0_default_pins {    // to module
    pinctrl-single,pins = <
      AM33XX_IOPAD(0x91c, PIN_OUTPUT_PULLDOWN | MUX_MODE1) /* (J18) gmii1_txd3.dcan0_tx */
      AM33XX_IOPAD(0x920, PIN_INPUT_PULLUP | MUX_MODE1) /* (K15) gmii1_txd2.dcan0_rx */
    >;
  };
  /* Optional sleep pin settings. Must manually enter values in the below skeleton. */
  dcan0_sleep: dcan0_sleep {
    pinctrl-single,pins = <
      AM33XX_IOPAD(0x91c, PIN_INPUT_PULLDOWN | MUX_MODE7) /* (J18) gmii1_txd3.dcan0_tx */
      AM33XX_IOPAD(0x920, PIN_INPUT_PULLDOWN | MUX_MODE7) /* (K15) gmii1_txd2.dcan0_rx */
    >;
  };      

  dcan1_default: dcan1_default_pins {   //  to host
    pinctrl-single,pins = <
      AM33XX_IOPAD(0x96c, PIN_INPUT | MUX_MODE2) /* (E17) uart0_rtsn.dcan1_rx */
      AM33XX_IOPAD(0x968, PIN_OUTPUT | MUX_MODE2) /* (E18) uart0_ctsn.dcan1_tx */
    >;
  };
  /* Optional sleep pin settings. Must manually enter values in the below skeleton. */
  dcan1_sleep: dcan1_sleep {
    pinctrl-single,pins = <
      AM33XX_IOPAD(0x96c, PIN_INPUT_PULLDOWN | MUX_MODE7) /* (E17) uart0_rtsn.dcan1_rx */
      AM33XX_IOPAD(0x968, PIN_INPUT_PULLDOWN | MUX_MODE7) /* (E18) uart0_ctsn.dcan1_tx */
    >;
  };
  
  usb0_pins_default: usb0_pins_default {
    pinctrl-single,pins = <
      AM33XX_IOPAD(0xa1c, PIN_OUTPUT | MUX_MODE0) /* (F16) USB0_DRVVBUS.USB0_DRVVBUS */
    >;
  };
  /* Optional sleep pin settings. Must manually enter values in the below skeleton. */
  usb0_pins_sleep: usb0_pins_sleep {
    pinctrl-single,pins = <
      AM33XX_IOPAD(0xa1c, PIN_INPUT_PULLDOWN | MUX_MODE7) /* (F16) USB0_DRVVBUS.USB0_DRVVBUS */
    >;
  };

  usb1_pins_default: usb1_pins_default {
    pinctrl-single,pins = <
      AM33XX_IOPAD(0xa34, PIN_OUTPUT | MUX_MODE0) /* (F15) USB1_DRVVBUS.USB1_DRVVBUS */
    >;
  };
  /* Optional sleep pin settings. Must manually enter values in the below skeleton. */
  usb1_pins_sleep: usb1_pins_sleep {
    pinctrl-single,pins = <
      AM33XX_IOPAD(0xa34, PIN_INPUT_PULLDOWN | MUX_MODE7) /* (F15) USB1_DRVVBUS.USB1_DRVVBUS */
    >;
  };

};

&uart0 {
	pinctrl-names = "default";
	pinctrl-0 = <&uart0_pins>;
  pinctrl-1 = <&uart0_pins_sleep>;
	status = "okay";
};

&uart1 {
  pinctrl-names = "default";
  pinctrl-0 = <&uart1_pins>;
  pinctrl-1 = <&uart1_pins_sleep>;
  status = "okay";
};

&uart2 {
  pinctrl-names = "default";
  pinctrl-0 = <&uart2_pins>;
  pinctrl-1 = <&uart2_pins_sleep>;
  status = "okay";
};

&uart3 {
  pinctrl-names = "default";
  pinctrl-0 = <&uart3_pins>;
  pinctrl-1 = <&uart3_pins_sleep>;
  status = "okay";
};

&i2c0 {
	pinctrl-names = "default";
	pinctrl-0 = <&i2c0_pins>;
	pinctrl-1 = <&i2c0_pins_sleep>;
	status = "okay";
	clock-frequency = <100000>;

	tps: tps@24 {
		reg = <0x24>;
	};

  s35390a: s35390a@30 {
    compatible = "s35390a";
    reg = <0x30>;
  };

  baseboard_eeprom: baseboard_eeprom@50 {
    compatible = "at,24c256";
    reg = <0x50>;
  };

  cape_eeprom0: cape_eeprom@57 {
    compatible = "at,24c256";
    reg = <0x57>;
  };

	tlv320aic3106: tlv320aic3106@1b {
		compatible = "ti,tlv320aic3106";
		reg = <0x1b>;
		status = "okay";
	};

};

&i2c2 {	//edt_ft5x06
  pinctrl-names = "default";
  pinctrl-0 = <&i2c2_pins>;
  pinctrl-1 = <&i2c2_pins_sleep>;
  status = "okay";
  clock-frequency = <100000>;

  touchscreen: touchscreen@38 {
  compatible = "edt,edt-ft5406";
  reg = <0x38>;

  interrupt-parent = <&gpio3 18>;
  interrupts = <133 IRQ_TYPE_EDGE_FALLING>;
  };

};

&spi0 {
  pinctrl-names = "default";
  pinctrl-0 = <&spi0_pins>;
  pinctrl-1 = <&spi0_pins_sleep>;
  status = "okay";

  spidev0: spi@0 {
    compatible = "spidev";
    reg = <0>;
    spi-max-frequency = <20000000>;
    spi-cpha;
  };

  spidev2: spi@1 {
    compatible = "spidev";
    reg = <1>;
    spi-max-frequency = <20000000>;
  };

};

&lcdc {
  status = "okay";

  /* If you want to get 24 bit RGB and 16 BGR mode instead of
   * current 16 bit RGB and 24 BGR modes, set the propety
   * below to "straight".
  */  
  /*blue-and-red-wiring = "straight";*/
	blue-and-red-wiring = "crossed";
};

&elm {
        status = "okay";
};

&epwmss0 {
  status = "okay";

  ecap0: ecap@48300100 {
    status = "okay";
    pinctrl-names = "default";
    pinctrl-0 = <&ecap0_pins>;
    pinctrl-1 = <&ecap0_pins_sleep>;
    };
};

/include/ "tps65217.dtsi"

&tps {
        /*
         * Configure pmic to enter OFF-state instead of SLEEP-state ("RTC-only
         * mode") at poweroff.  Most BeagleBone versions do not support RTC-only
         * mode and risk hardware damage if this mode is entered.
         *
         * For details, see linux-omap mailing list May 2015 thread
         *      [PATCH] ARM: dts: am335x-bone* enable pmic-shutdown-controller
         * In particular, messages:
         *      http://www.spinics.net/lists/linux-omap/msg118585.html
         *      http://www.spinics.net/lists/linux-omap/msg118615.html
         *
         * You can override this later with
         *      &tps {  /delete-property/ ti,pmic-shutdown-controller;  }
         * if you want to use RTC-only mode and made sure you are not affected
         * by the hardware problems. (Tip: double-check by performing a current
         * measurement after shutdown: it should be less than 1 mA.)
         */
  ti,pmic-shutdown-controller;

  regulators {
    dcdc1_reg: regulator@0 {
    regulator-name = "vdds_dpr";
    regulator-always-on;
  };

  dcdc2_reg: regulator@1 {
    /* VDD_MPU voltage limits 0.95V - 1.325V with +/-4% tolerance */
    regulator-name = "vdd_mpu";
    regulator-min-microvolt = <925000>;
    regulator-max-microvolt = <1351500>;
    regulator-boot-on;
    regulator-always-on;
  };

  dcdc3_reg: regulator@2 {
    /* VDD_CORE voltage limits 0.95V - 1.1V with +/-4% tolerance */
    regulator-name = "vdd_core";
    regulator-min-microvolt = <925000>;
    regulator-max-microvolt = <1150000>;
    regulator-boot-on;
    regulator-always-on;
  };

  ldo1_reg: regulator@3 {
    regulator-name = "vio,vrtc,vdds";
    regulator-always-on;
  };

  ldo2_reg: regulator@4 {
    regulator-name = "vdd_3v3aux";
    regulator-always-on;
  };

  ldo3_reg: regulator@5 {
    regulator-name = "vdd_1v8";
    regulator-always-on;
  };

  ldo4_reg: regulator@6 {
    regulator-name = "vdd_3v3a";
    regulator-always-on;
  };
};

};

&mac {
  pinctrl-names = "default", "sleep";
  pinctrl-0 = <&cpsw_default>;
  pinctrl-1 = <&cpsw_sleep>;
  dual_emac = <1>;
	status = "okay";
};

&davinci_mdio {
  pinctrl-names = "default", "sleep";
  pinctrl-0 = <&davinci_mdio_default>;
  pinctrl-1 = <&davinci_mdio_sleep>;
  status = "okay";
};

&cpsw_emac0 {
  phy_id = <&davinci_mdio>, <0>;
  phy-mode = "rmii";
  dual_emac_res_vlan = <1>;
};

&cpsw_emac1 {
  phy_id = <&davinci_mdio>, <1>;
  phy-mode = "rmii";
  dual_emac_res_vlan = <2>;
};

&phy_sel {
  reg= <0x44e10650 0xf5>;
  rmii-clock-ext;
};

&usb {
  status = "okay";
};

&usb_ctrl_mod {
  status = "okay";
};

&usb0_phy {
  status = "okay";
};

&usb1_phy {
  status = "okay";
};

&usb0 {
  status = "okay";
  dr_mode = "host";
};

&usb1 {
  status = "okay";
  dr_mode = "host";
};

&cppi41dma  {
  status = "okay";
};

&tscadc {
  status = "disabled";
  tsc {
    ti,wires = <4>;
    ti,x-plate-resistance = <200>;
    ti,coordinate-readouts = <5>;
    ti,wire-config = <0x00 0x11 0x22 0x33>;
    ti,charge-delay = <0x400>;
  };

  adc {
    ti,adc-channels = <0 1 2 3>;
  };
  
};

&mmc2 {
  vmmc-supply = <&vmmcsd_fixed>;
  pinctrl-names = "default";
  pinctrl-0 = <&emmc_pins>;
  bus-width = <8>;
  status = "okay";
  ti,non-removable;
};


&mmc1 {
	vmmc-supply = <&vmmcsd_fixed>;
	status = "okay";
	bus-width = <0x4>;
	pinctrl-names = "default";
	pinctrl-0 = <&mmc1_pins>;
  gpios = <&gpio1 19 1>; /* mmc0 power enable*/
	cd-gpios = <&gpio1 18 GPIO_ACTIVE_HIGH>;
	wp-gpios = <&gpio1 17 GPIO_ACTIVE_HIGH>;
	cd-inverted;
};

&dcan0 {
  pinctrl-names = "default";
  pinctrl-0 = <&dcan0_default>;
  pinctrl-1 = <&dcan0_sleep>;
  status = "okay";
};

&dcan1 {
  pinctrl-names = "default";
  pinctrl-0 = <&dcan1_default>;
  pinctrl-1 = <&dcan1_sleep>;
  status = "okay";
};

&sham {
  status = "okay";
};

&aes {
  status = "okay";
};

&gpio0 {
  ti,no-reset-on-init;
};

&wkup_m3_ipc {
  ti,scale-data-fw = "am335x-evm-scale-data.bin";
};

&rtc {
  ext-clk-src;
};
